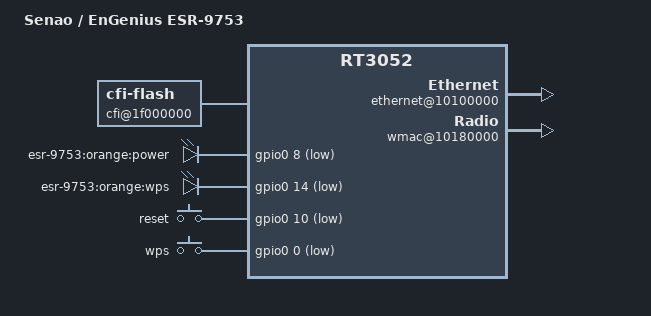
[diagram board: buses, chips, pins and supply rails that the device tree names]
/dts-v1/;

/include/ "rt3050.dtsi"

/ {
	#address-cells = <1>;
	#size-cells = <1>;
	compatible = "ESR-9753", "ralink,rt3052-soc";
	model = "Senao / EnGenius ESR-9753";

	memorydetect {
		ralink,memory = <0x0 0x200000 0x4000000>;
	};

	chosen {
		bootargs = "console=ttyS0,57600 mtdparts=1f000000.cfi:192k(u-boot)ro,64k(u-boot-env)ro,64k(factory)ro,3776k@0x50000(firmware)";
	};

	palmbus@10000000 {
		sysc@0 {
			ralink,pinmmux = "i2c", "spi", "uartlite", "jtag", "mdio", "sdram", "rgmii";
			ralink,uartmux = "gpio";
			ralink,wdtmux = <1>;
		};

		gpio0: gpio@600 {
			status = "okay";
		};

	};

	cfi@1f000000 {
		compatible = "cfi-flash";
		reg = <0x1f000000 0x800000>;

		bank-width = <2>;
		device-width = <2>;
		#address-cells = <1>;
		#size-cells = <1>;
	};

	gpio-leds {
		compatible = "gpio-leds";
		power {
			label = "esr-9753:orange:power";
			gpios = <&gpio0 8 1>;
		};
		wps {
			label = "esr-9753:orange:wps";
			gpios = <&gpio0 14 1>;
		};
	};

	gpio-keys-polled {
		compatible = "gpio-keys-polled";
		#address-cells = <1>;
		#size-cells = <0>;
		poll-interval = <20>;
		reset {
			label = "reset";
			gpios = <&gpio0 10 1>;
			linux,code = <0x198>;
		};
		wps {
			label = "wps";
			gpios = <&gpio0 0 1>;
			linux,code = <0x211>;
		};
	};

	ethernet@10100000 {
		status = "okay";
	};

	esw@10110000 {
		status = "okay";
		ralink,portmap = <0x3e>;
	};

	wmac@10180000 {
		status = "okay";
	};
};
